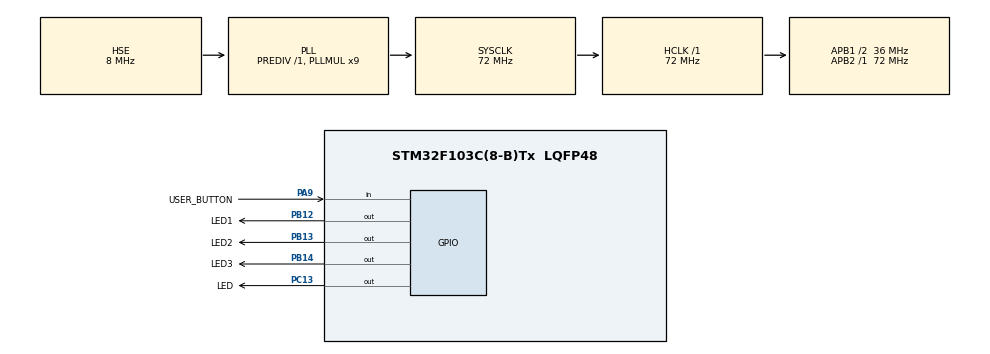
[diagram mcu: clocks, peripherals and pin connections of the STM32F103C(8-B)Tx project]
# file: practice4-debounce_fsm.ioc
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Mcu.Family=STM32F1
Mcu.Name=STM32F103C(8-B)Tx
Mcu.Package=LQFP48
NVIC.PriorityGroup=NVIC_PRIORITYGROUP_4
PA9.GPIO_Label=USER_BUTTON
PA9.GPIO_PuPd=GPIO_NOPULL
PA9.Signal=GPIO_Input
PB12.GPIO_Label=LED1
PB12.Signal=GPIO_Output
PB13.GPIO_Label=LED2
PB13.Signal=GPIO_Output
PB14.GPIO_Label=LED3
PB14.Signal=GPIO_Output
PC13-TAMPER-RTC.GPIO_Label=LED
PC13-TAMPER-RTC.Signal=GPIO_Output
PD0-OSC_IN.Mode=HSE-External-Oscillator
PD0-OSC_IN.Signal=RCC_OSC_IN
PD1-OSC_OUT.Mode=HSE-External-Oscillator
PD1-OSC_OUT.Signal=RCC_OSC_OUT
ProjectManager.HeapSize=0x200
ProjectManager.StackSize=0x400
ProjectManager.TargetToolchain=Makefile
RCC.AHBFreq_Value=72000000
RCC.APB1CLKDivider=RCC_HCLK_DIV2
RCC.APB1Freq_Value=36000000
RCC.APB1TimFreq_Value=72000000
RCC.APB2Freq_Value=72000000
RCC.APB2TimFreq_Value=72000000
RCC.HCLKFreq_Value=72000000
RCC.PLLMUL=RCC_PLL_MUL9
RCC.PLLSourceVirtual=RCC_PLLSOURCE_HSE
RCC.SYSCLKFreq_VALUE=72000000
RCC.SYSCLKSource=RCC_SYSCLKSOURCE_PLLCLK
RCC.USBFreq_Value=72000000
VP_SYS_VS_ND.Mode=No_Debug
board=custom

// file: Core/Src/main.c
/* USER CODE BEGIN Header */
/**
  ******************************************************************************
  * @file           : main.c
  * @brief          : Main program body
  ******************************************************************************
  * @attention
  *
  * Copyright (c) 2023 STMicroelectronics.
  * All rights reserved.
  *
  * This software is licensed under terms that can be found in the LICENSE file
  * in the root directory of this software component.
  * If no LICENSE file comes with this software, it is provided AS-IS.
  *
  ******************************************************************************
  */
/* USER CODE END Header */
#include "main.h"

/* USER CODE BEGIN Includes */
#include "api_types.h"
#include "api_delay.h"
#include "api_debounce.h"
/* USER CODE END Includes */

/* USER CODE BEGIN PD */
#define BLINK_MAX_PERIOD  500
#define BLINK_STEP_PERIOD 100
/* USER CODE END PD */

void SystemClock_Config(void);
static void MX_GPIO_Init(void);

int main(void)
{
  /* USER CODE BEGIN 1 */
  tick_t period_led2 = BLINK_STEP_PERIOD;
  delay_t delay_led2;
  /* USER CODE END 1 */

  /* MCU Configuration--------------------------------------------------------*/

  /* Reset of all peripherals, Initializes the Flash interface and the Systick. */
  HAL_Init();

  /* USER CODE BEGIN Init */
  delay_init(&delay_led2, period_led2);
  debounce_fsm_init();
  /* USER CODE END Init */

  /* Configure the system clock */
  SystemClock_Config();

  /* Initialize all configured peripherals */
  MX_GPIO_Init();

  /* Infinite loop */
  /* USER CODE BEGIN WHILE */
  while (1)
  {
    debounce_fsm_update();
    if (delay_read(&delay_led2)) HAL_GPIO_TogglePin(LED2_GPIO_Port, LED2_Pin);
    if (read_key())
    {
      period_led2 = (period_led2 + BLINK_STEP_PERIOD) % BLINK_MAX_PERIOD;
      delay_write(&delay_led2, period_led2);
    }
    /* USER CODE END WHILE */

  }
}

void SystemClock_Config(void)
{
  RCC_OscInitTypeDef RCC_OscInitStruct = {0};
  RCC_ClkInitTypeDef RCC_ClkInitStruct = {0};

  /** Initializes the RCC Oscillators according to the specified parameters
  * in the RCC_OscInitTypeDef structure.
  */
  RCC_OscInitStruct.OscillatorType = RCC_OSCILLATORTYPE_HSE;
  RCC_OscInitStruct.HSEState = RCC_HSE_ON;
  RCC_OscInitStruct.HSEPredivValue = RCC_HSE_PREDIV_DIV1;
  RCC_OscInitStruct.HSIState = RCC_HSI_ON;
  RCC_OscInitStruct.PLL.PLLState = RCC_PLL_ON;
  RCC_OscInitStruct.PLL.PLLSource = RCC_PLLSOURCE_HSE;
  RCC_OscInitStruct.PLL.PLLMUL = RCC_PLL_MUL9;
  if (HAL_RCC_OscConfig(&RCC_OscInitStruct) != HAL_OK)
  {
    Error_Handler();
  }

  /** Initializes the CPU, AHB and APB buses clocks
  */
  RCC_ClkInitStruct.ClockType = RCC_CLOCKTYPE_HCLK|RCC_CLOCKTYPE_SYSCLK
                              |RCC_CLOCKTYPE_PCLK1|RCC_CLOCKTYPE_PCLK2;
  RCC_ClkInitStruct.SYSCLKSource = RCC_SYSCLKSOURCE_PLLCLK;
  RCC_ClkInitStruct.AHBCLKDivider = RCC_SYSCLK_DIV1;
  RCC_ClkInitStruct.APB1CLKDivider = RCC_HCLK_DIV2;
  RCC_ClkInitStruct.APB2CLKDivider = RCC_HCLK_DIV1;

  if (HAL_RCC_ClockConfig(&RCC_ClkInitStruct, FLASH_LATENCY_2) != HAL_OK)
  {
    Error_Handler();
  }
}

static void MX_GPIO_Init(void)
{
  GPIO_InitTypeDef GPIO_InitStruct = {0};

  /* GPIO Ports Clock Enable */
  __HAL_RCC_GPIOC_CLK_ENABLE();
  __HAL_RCC_GPIOD_CLK_ENABLE();
  __HAL_RCC_GPIOB_CLK_ENABLE();
  __HAL_RCC_GPIOA_CLK_ENABLE();

  /*Configure GPIO pin Output Level */
  HAL_GPIO_WritePin(LED_GPIO_Port, LED_Pin, GPIO_PIN_RESET);

  /*Configure GPIO pin Output Level */
  HAL_GPIO_WritePin(GPIOB, LED1_Pin|LED2_Pin|LED3_Pin, GPIO_PIN_RESET);

  /*Configure GPIO pin : LED_Pin */
  GPIO_InitStruct.Pin = LED_Pin;
  GPIO_InitStruct.Mode = GPIO_MODE_OUTPUT_PP;
  GPIO_InitStruct.Pull = GPIO_NOPULL;
  GPIO_InitStruct.Speed = GPIO_SPEED_FREQ_LOW;
  HAL_GPIO_Init(LED_GPIO_Port, &GPIO_InitStruct);

  /*Configure GPIO pins : LED1_Pin LED2_Pin LED3_Pin */
  GPIO_InitStruct.Pin = LED1_Pin|LED2_Pin|LED3_Pin;
  GPIO_InitStruct.Mode = GPIO_MODE_OUTPUT_PP;
  GPIO_InitStruct.Pull = GPIO_NOPULL;
  GPIO_InitStruct.Speed = GPIO_SPEED_FREQ_LOW;
  HAL_GPIO_Init(GPIOB, &GPIO_InitStruct);

  /*Configure GPIO pin : USER_BUTTON_Pin */
  GPIO_InitStruct.Pin = USER_BUTTON_Pin;
  GPIO_InitStruct.Mode = GPIO_MODE_INPUT;
  GPIO_InitStruct.Pull = GPIO_NOPULL;
  HAL_GPIO_Init(USER_BUTTON_GPIO_Port, &GPIO_InitStruct);

}

/* USER CODE BEGIN 4 */
/**
  * @brief  Button pressed callback.
  * @retval None
  */
void button_pressed(void)
{
  HAL_GPIO_TogglePin(LED1_GPIO_Port, LED1_Pin);
}

/**
  * @brief  Button released callback.
  * @retval None
  */
void button_released(void)
{
  HAL_GPIO_TogglePin(LED3_GPIO_Port, LED3_Pin);
}

/**
  * @brief  Debounce module error handling callback.
  * @retval None
  */
void debounce_error_handler(void)
{
  while (1)
  {
    HAL_GPIO_TogglePin(LED_GPIO_Port, LED_Pin);
    HAL_Delay(500);
  }

}
/* USER CODE END 4 */

void Error_Handler(void)
{
  __disable_irq();
  while (1)
  {
  }
}
